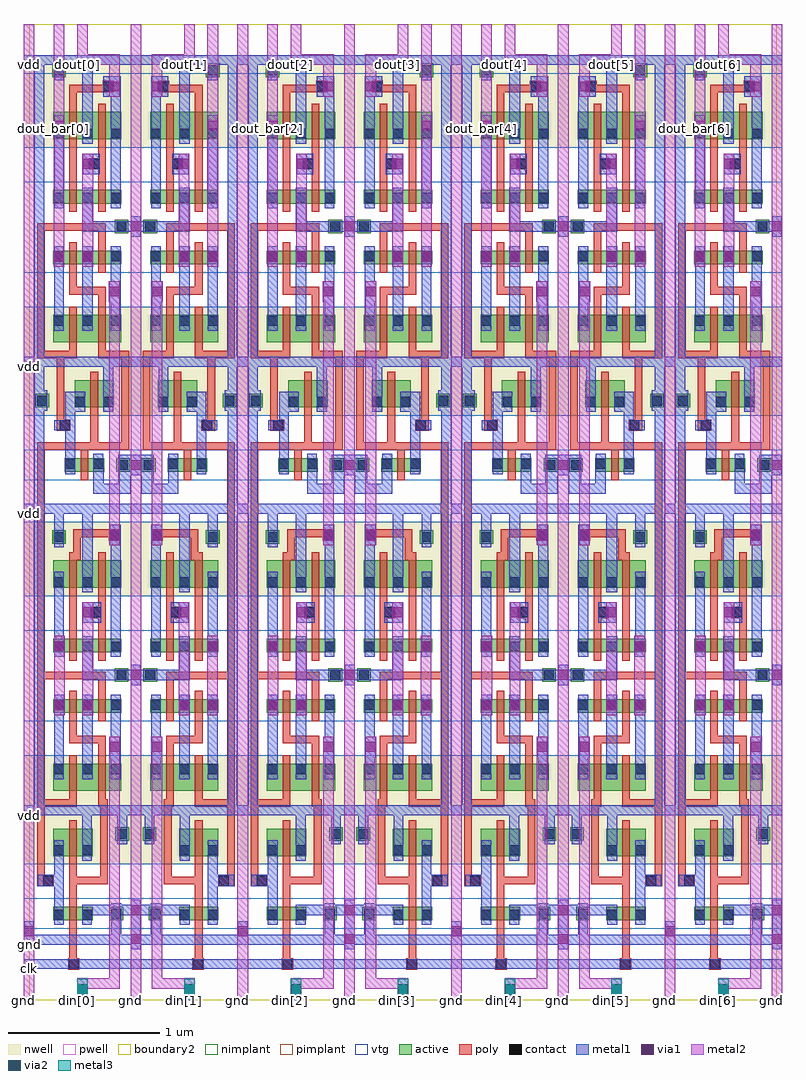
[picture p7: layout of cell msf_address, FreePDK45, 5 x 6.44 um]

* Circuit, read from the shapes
.subckt msf_address clk din[0] din[1] din[2] din[3] din[4] din[5] din[6] dout[0] dout[1] dout[2] dout[3] dout[4] dout[5] dout[6] dout_bar[0] dout_bar[1] dout_bar[2] dout_bar[3] dout_bar[4] dout_bar[5] dout_bar[6] gnd vdd
M1 gnd clk n1 gnd nfet w=0.09u l=0.05u
M2 n2 clk n3 gnd nfet w=0.09u l=0.05u
M3 gnd n4 n3 gnd nfet w=0.09u l=0.05u
M4 n5 n1 dout_bar[0] gnd nfet w=0.09u l=0.05u
M5 gnd dout[0] dout_bar[0] gnd nfet w=0.09u l=0.05u
M6 gnd n1 n6 gnd nfet w=0.09u l=0.05u
M7 din[0] n1 n2 gnd nfet w=0.09u l=0.05u
M8 n4 n2 gnd gnd nfet w=0.09u l=0.05u
M9 n4 n6 n5 gnd nfet w=0.09u l=0.05u
M10 dout[0] n5 gnd gnd nfet w=0.09u l=0.05u
M11 n7 n8 din[1] gnd nfet w=0.09u l=0.05u
M12 gnd n7 n9 gnd nfet w=0.09u l=0.05u
M13 n10 n11 n9 gnd nfet w=0.09u l=0.05u
M14 gnd n10 dout[1] gnd nfet w=0.09u l=0.05u
M15 n11 n8 gnd gnd nfet w=0.09u l=0.05u
M16 n8 clk gnd gnd nfet w=0.09u l=0.05u
M17 n12 clk n7 gnd nfet w=0.09u l=0.05u
M18 n12 n9 gnd gnd nfet w=0.09u l=0.05u
M19 dout_bar[1] n8 n10 gnd nfet w=0.09u l=0.05u
M20 dout_bar[1] dout[1] gnd gnd nfet w=0.09u l=0.05u
M21 gnd clk n13 gnd nfet w=0.09u l=0.05u
M22 n14 clk n15 gnd nfet w=0.09u l=0.05u
M23 gnd n16 n15 gnd nfet w=0.09u l=0.05u
M24 n17 n13 dout_bar[2] gnd nfet w=0.09u l=0.05u
M25 gnd dout[2] dout_bar[2] gnd nfet w=0.09u l=0.05u
M26 gnd n13 n18 gnd nfet w=0.09u l=0.05u
M27 din[2] n13 n14 gnd nfet w=0.09u l=0.05u
M28 n16 n14 gnd gnd nfet w=0.09u l=0.05u
M29 n16 n18 n17 gnd nfet w=0.09u l=0.05u
M30 dout[2] n17 gnd gnd nfet w=0.09u l=0.05u
M31 n19 n20 din[3] gnd nfet w=0.09u l=0.05u
M32 gnd n19 n21 gnd nfet w=0.09u l=0.05u
M33 n22 n23 n21 gnd nfet w=0.09u l=0.05u
M34 gnd n22 dout[3] gnd nfet w=0.09u l=0.05u
M35 n23 n20 gnd gnd nfet w=0.09u l=0.05u
M36 n20 clk gnd gnd nfet w=0.09u l=0.05u
M37 n24 clk n19 gnd nfet w=0.09u l=0.05u
M38 n24 n21 gnd gnd nfet w=0.09u l=0.05u
M39 dout_bar[3] n20 n22 gnd nfet w=0.09u l=0.05u
M40 dout_bar[3] dout[3] gnd gnd nfet w=0.09u l=0.05u
M41 gnd clk n25 gnd nfet w=0.09u l=0.05u
M42 n26 clk n27 gnd nfet w=0.09u l=0.05u
M43 gnd n28 n27 gnd nfet w=0.09u l=0.05u
M44 n29 n25 dout_bar[4] gnd nfet w=0.09u l=0.05u
M45 gnd dout[4] dout_bar[4] gnd nfet w=0.09u l=0.05u
M46 gnd n25 n30 gnd nfet w=0.09u l=0.05u
M47 din[4] n25 n26 gnd nfet w=0.09u l=0.05u
M48 n28 n26 gnd gnd nfet w=0.09u l=0.05u
M49 n28 n30 n29 gnd nfet w=0.09u l=0.05u
M50 dout[4] n29 gnd gnd nfet w=0.09u l=0.05u
M51 n31 n32 din[5] gnd nfet w=0.09u l=0.05u
M52 gnd n31 n33 gnd nfet w=0.09u l=0.05u
M53 n34 n35 n33 gnd nfet w=0.09u l=0.05u
M54 gnd n34 dout[5] gnd nfet w=0.09u l=0.05u
M55 n35 n32 gnd gnd nfet w=0.09u l=0.05u
M56 n32 clk gnd gnd nfet w=0.09u l=0.05u
M57 n36 clk n31 gnd nfet w=0.09u l=0.05u
M58 n36 n33 gnd gnd nfet w=0.09u l=0.05u
M59 dout_bar[5] n32 n34 gnd nfet w=0.09u l=0.05u
M60 dout_bar[5] dout[5] gnd gnd nfet w=0.09u l=0.05u
M61 gnd clk n37 gnd nfet w=0.09u l=0.05u
M62 n38 clk n39 gnd nfet w=0.09u l=0.05u
M63 gnd n40 n39 gnd nfet w=0.09u l=0.05u
M64 n41 n37 dout_bar[6] gnd nfet w=0.09u l=0.05u
M65 gnd dout[6] dout_bar[6] gnd nfet w=0.09u l=0.05u
M66 gnd n37 n42 gnd nfet w=0.09u l=0.05u
M67 din[6] n37 n38 gnd nfet w=0.09u l=0.05u
M68 n40 n38 gnd gnd nfet w=0.09u l=0.05u
M69 n40 n42 n41 gnd nfet w=0.09u l=0.05u
M70 dout[6] n41 gnd gnd nfet w=0.09u l=0.05u
M71 vdd clk n1 vdd pfet w=0.18u l=0.05u
M72 n2 n1 n3 vdd pfet w=0.18u l=0.05u
M73 vdd n4 n3 vdd pfet w=0.18u l=0.05u
M74 n5 n6 dout_bar[0] vdd pfet w=0.18u l=0.05u
M75 vdd dout[0] dout_bar[0] vdd pfet w=0.18u l=0.05u
M76 vdd n1 n6 vdd pfet w=0.18u l=0.05u
M77 din[0] clk n2 vdd pfet w=0.18u l=0.05u
M78 n4 n2 vdd vdd pfet w=0.18u l=0.05u
M79 n4 n1 n5 vdd pfet w=0.18u l=0.05u
M80 dout[0] n5 vdd vdd pfet w=0.18u l=0.05u
M81 n7 clk din[1] vdd pfet w=0.18u l=0.05u
M82 vdd n7 n9 vdd pfet w=0.18u l=0.05u
M83 n10 n8 n9 vdd pfet w=0.18u l=0.05u
M84 vdd n10 dout[1] vdd pfet w=0.18u l=0.05u
M85 n11 n8 vdd vdd pfet w=0.18u l=0.05u
M86 n8 clk vdd vdd pfet w=0.18u l=0.05u
M87 n12 n8 n7 vdd pfet w=0.18u l=0.05u
M88 n12 n9 vdd vdd pfet w=0.18u l=0.05u
M89 dout_bar[1] n11 n10 vdd pfet w=0.18u l=0.05u
M90 dout_bar[1] dout[1] vdd vdd pfet w=0.18u l=0.05u
M91 vdd clk n13 vdd pfet w=0.18u l=0.05u
M92 n14 n13 n15 vdd pfet w=0.18u l=0.05u
M93 vdd n16 n15 vdd pfet w=0.18u l=0.05u
M94 n17 n18 dout_bar[2] vdd pfet w=0.18u l=0.05u
M95 vdd dout[2] dout_bar[2] vdd pfet w=0.18u l=0.05u
M96 vdd n13 n18 vdd pfet w=0.18u l=0.05u
M97 din[2] clk n14 vdd pfet w=0.18u l=0.05u
M98 n16 n14 vdd vdd pfet w=0.18u l=0.05u
M99 n16 n13 n17 vdd pfet w=0.18u l=0.05u
M100 dout[2] n17 vdd vdd pfet w=0.18u l=0.05u
M101 n19 clk din[3] vdd pfet w=0.18u l=0.05u
M102 vdd n19 n21 vdd pfet w=0.18u l=0.05u
M103 n22 n20 n21 vdd pfet w=0.18u l=0.05u
M104 vdd n22 dout[3] vdd pfet w=0.18u l=0.05u
M105 n23 n20 vdd vdd pfet w=0.18u l=0.05u
M106 n20 clk vdd vdd pfet w=0.18u l=0.05u
M107 n24 n20 n19 vdd pfet w=0.18u l=0.05u
M108 n24 n21 vdd vdd pfet w=0.18u l=0.05u
M109 dout_bar[3] n23 n22 vdd pfet w=0.18u l=0.05u
M110 dout_bar[3] dout[3] vdd vdd pfet w=0.18u l=0.05u
M111 vdd clk n25 vdd pfet w=0.18u l=0.05u
M112 n26 n25 n27 vdd pfet w=0.18u l=0.05u
M113 vdd n28 n27 vdd pfet w=0.18u l=0.05u
M114 n29 n30 dout_bar[4] vdd pfet w=0.18u l=0.05u
M115 vdd dout[4] dout_bar[4] vdd pfet w=0.18u l=0.05u
M116 vdd n25 n30 vdd pfet w=0.18u l=0.05u
M117 din[4] clk n26 vdd pfet w=0.18u l=0.05u
M118 n28 n26 vdd vdd pfet w=0.18u l=0.05u
M119 n28 n25 n29 vdd pfet w=0.18u l=0.05u
M120 dout[4] n29 vdd vdd pfet w=0.18u l=0.05u
M121 n31 clk din[5] vdd pfet w=0.18u l=0.05u
M122 vdd n31 n33 vdd pfet w=0.18u l=0.05u
M123 n34 n32 n33 vdd pfet w=0.18u l=0.05u
M124 vdd n34 dout[5] vdd pfet w=0.18u l=0.05u
M125 n35 n32 vdd vdd pfet w=0.18u l=0.05u
M126 n32 clk vdd vdd pfet w=0.18u l=0.05u
M127 n36 n32 n31 vdd pfet w=0.18u l=0.05u
M128 n36 n33 vdd vdd pfet w=0.18u l=0.05u
M129 dout_bar[5] n35 n34 vdd pfet w=0.18u l=0.05u
M130 dout_bar[5] dout[5] vdd vdd pfet w=0.18u l=0.05u
M131 vdd clk n37 vdd pfet w=0.18u l=0.05u
M132 n38 n37 n39 vdd pfet w=0.18u l=0.05u
M133 vdd n40 n39 vdd pfet w=0.18u l=0.05u
M134 n41 n42 dout_bar[6] vdd pfet w=0.18u l=0.05u
M135 vdd dout[6] dout_bar[6] vdd pfet w=0.18u l=0.05u
M136 vdd n37 n42 vdd pfet w=0.18u l=0.05u
M137 din[6] clk n38 vdd pfet w=0.18u l=0.05u
M138 n40 n38 vdd vdd pfet w=0.18u l=0.05u
M139 n40 n37 n41 vdd pfet w=0.18u l=0.05u
M140 dout[6] n41 vdd vdd pfet w=0.18u l=0.05u
.ends

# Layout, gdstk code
from math import pi, radians
import gdstk
lib = gdstk.Library(unit=1e-6, precision=5e-10)
def R(c, l, rs):  # rectangles x0, y0, x1, y1
    for r in rs: c.add(gdstk.rectangle(r[:2], r[2:], *l))
def A(c, l, x, y, w, h, nx, ny, dx, dy):  # array of equal rectangles
    R(c, l, [(x+i*dx, y+j*dy, x+i*dx+w, y+j*dy+h) for i in range(nx) for j in range(ny)])
active = (1, 0)
pwell = (2, 0)
nwell = (3, 0)
nimplant = (4, 0)
pimplant = (5, 0)
vtg = (6, 0)
poly = (9, 0)
contact = (10, 0)
metal1 = (11, 0)
via1 = (12, 0)
metal2 = (13, 0)
via2 = (14, 0)
metal3 = (15, 0)
boundary2 = (239, 0)

ms_flop = lib.new_cell('ms_flop')
R(ms_flop, active, [(0.16,0.525,0.235,0.6), (0.16,0.525,0.42,0.615), (0.16,0.525,0.235,0.615), (0.16,0.525,0.235,0.615), (0.345,0.525,0.42,0.6), (0.345,0.525,0.42,0.615), (0.345,0.525,0.42,0.615), (0.53,0.525,0.62,0.615), (0.16,0.95,0.235,1.025), (0.16,0.95,0.42,1.13), (0.16,0.95,0.235,1.13), (0.16,0.95,0.235,1.13), (0.345,0.95,0.42,1.025), (0.345,0.95,0.42,1.13), (0.345,0.95,0.42,1.13), (0.57,1.05,0.66,1.14), (0.16,1.38,0.42,1.56), (0.16,1.38,0.235,1.56), (0.16,1.38,0.235,1.56), (0.345,1.38,0.42,1.56), (0.345,1.38,0.42,1.56), (0.35,1.38,0.61,1.56), (0.35,1.38,0.425,1.56), (0.35,1.38,0.425,1.56), (0.535,1.38,0.61,1.56), (0.535,1.38,0.61,1.56), (0.16,1.485,0.235,1.56), (0.345,1.485,0.42,1.56), (0.35,1.485,0.425,1.56), (0.535,1.485,0.61,1.56), (0.16,1.895,0.42,1.985), (0.16,1.895,0.235,1.985), (0.16,1.895,0.235,1.985), (0.345,1.895,0.42,1.985), (0.345,1.895,0.42,1.985), (0.35,1.895,0.61,1.985), (0.35,1.895,0.425,1.985), (0.35,1.895,0.425,1.985), (0.535,1.895,0.61,1.985), (0.535,1.895,0.61,1.985), (0.16,1.91,0.235,1.985), (0.345,1.91,0.42,1.985), (0.35,1.91,0.425,1.985), (0.535,1.91,0.61,1.985), (0.565,2.1,0.655,2.19), (0.16,2.295,0.235,2.37), (0.16,2.295,0.42,2.385), (0.16,2.295,0.235,2.385), (0.16,2.295,0.235,2.385), (0.345,2.295,0.42,2.37), (0.345,2.295,0.42,2.385), (0.345,2.295,0.42,2.385), (0.35,2.295,0.425,2.37), (0.35,2.295,0.61,2.385), (0.35,2.295,0.425,2.385), (0.35,2.295,0.425,2.385), (0.535,2.295,0.61,2.37), (0.535,2.295,0.61,2.385), (0.535,2.295,0.61,2.385), (0.16,2.72,0.235,2.795), (0.16,2.72,0.42,2.9), (0.16,2.72,0.235,2.9), (0.16,2.72,0.235,2.9), (0.345,2.72,0.42,2.795), (0.345,2.72,0.42,2.9), (0.345,2.72,0.42,2.9), (0.35,2.72,0.425,2.795), (0.35,2.72,0.61,2.9), (0.35,2.72,0.425,2.9), (0.35,2.72,0.425,2.9), (0.535,2.72,0.61,2.795), (0.535,2.72,0.61,2.9), (0.535,2.72,0.61,2.9), (0.1525,3.01,0.2425,3.1), (0.235,3.485,0.495,3.575), (0.235,3.485,0.31,3.575), (0.235,3.485,0.31,3.575), (0.42,3.485,0.495,3.575), (0.42,3.485,0.495,3.575), (0.575,3.485,0.665,3.575), (0.235,3.5,0.31,3.575), (0.42,3.5,0.495,3.575), (0.0425,3.91,0.1325,4), (0.3,3.91,0.375,3.985), (0.3,3.91,0.56,4.09), (0.3,3.91,0.375,4.09), (0.3,3.91,0.375,4.09), (0.485,3.91,0.56,3.985), (0.485,3.91,0.56,4.09), (0.485,3.91,0.56,4.09), (0.16,4.34,0.42,4.52), (0.16,4.34,0.235,4.52), (0.16,4.34,0.235,4.52), (0.345,4.34,0.42,4.52), (0.345,4.34,0.42,4.52), (0.35,4.34,0.61,4.52), (0.35,4.34,0.425,4.52), (0.35,4.34,0.425,4.52), (0.535,4.34,0.61,4.52), (0.535,4.34,0.61,4.52), (0.16,4.445,0.235,4.52), (0.345,4.445,0.42,4.52), (0.35,4.445,0.425,4.52), (0.535,4.445,0.61,4.52), (0.16,4.855,0.42,4.945), (0.16,4.855,0.235,4.945), (0.16,4.855,0.235,4.945), (0.345,4.855,0.42,4.945), (0.345,4.855,0.42,4.945), (0.35,4.855,0.61,4.945), (0.35,4.855,0.425,4.945), (0.35,4.855,0.425,4.945), (0.535,4.855,0.61,4.945), (0.535,4.855,0.61,4.945), (0.16,4.87,0.235,4.945), (0.345,4.87,0.42,4.945), (0.35,4.87,0.425,4.945), (0.535,4.87,0.61,4.945), (0.565,5.06,0.655,5.15), (0.16,5.255,0.235,5.33), (0.16,5.255,0.42,5.345), (0.16,5.255,0.235,5.345), (0.16,5.255,0.235,5.345), (0.345,5.255,0.42,5.33), (0.345,5.255,0.42,5.345), (0.345,5.255,0.42,5.345), (0.35,5.255,0.425,5.33), (0.35,5.255,0.61,5.345), (0.35,5.255,0.425,5.345), (0.35,5.255,0.425,5.345), (0.535,5.255,0.61,5.33), (0.535,5.255,0.61,5.345), (0.535,5.255,0.61,5.345), (0.16,5.68,0.235,5.755), (0.16,5.68,0.42,5.86), (0.16,5.68,0.235,5.86), (0.16,5.68,0.235,5.86), (0.345,5.68,0.42,5.755), (0.345,5.68,0.42,5.86), (0.345,5.68,0.42,5.86), (0.35,5.68,0.425,5.755), (0.35,5.68,0.61,5.86), (0.35,5.68,0.425,5.86), (0.35,5.68,0.425,5.86), (0.535,5.68,0.61,5.755), (0.535,5.68,0.61,5.86), (0.535,5.68,0.61,5.86), (0.1525,6.09,0.2425,6.18)])
R(ms_flop, pwell, [(-0.035,0.47,0.74,0.67), (0.105,0.47,0.475,0.67), (0.475,0.47,0.675,0.67), (-0.035,1.84,0.74,2.44), (0.105,1.84,0.475,2.04), (0.295,1.84,0.665,2.04), (0.51,2.045,0.71,2.245), (0.105,2.24,0.475,2.44), (0.295,2.24,0.665,2.44), (-0.035,3.43,0.74,3.63), (0.18,3.43,0.55,3.63), (0.52,3.43,0.72,3.63), (-0.035,4.8,0.74,5.4), (0.105,4.8,0.475,5), (0.295,4.8,0.665,5), (0.51,5.005,0.71,5.205), (0.105,5.2,0.475,5.4), (0.295,5.2,0.665,5.4)])
R(ms_flop, nwell, [(-0.035,0.895,0.74,1.615), (0.105,0.895,0.475,1.185), (0.515,0.995,0.715,1.195), (0.105,1.325,0.475,1.615), (0.295,1.325,0.665,1.615), (-0.035,2.665,0.74,3.155), (0.105,2.665,0.475,2.955), (0.295,2.665,0.665,2.955), (0.0975,2.955,0.2975,3.155), (-0.035,3.855,0.74,4.575), (-0.0125,3.855,0.1875,4.055), (0.245,3.855,0.615,4.145), (0.105,4.285,0.475,4.575), (0.295,4.285,0.665,4.575), (-0.035,5.625,0.74,6.235), (0.105,5.625,0.475,5.915), (0.295,5.625,0.665,5.915), (0.0975,6.035,0.2975,6.235)])
R(ms_flop, nimplant, [(0.16,0.525,0.42,0.615), (0.57,1.05,0.66,1.14), (0.16,1.895,0.42,1.985), (0.35,1.895,0.61,1.985), (0.16,2.295,0.42,2.385), (0.35,2.295,0.61,2.385), (0.1525,3.01,0.2425,3.1), (0.235,3.485,0.495,3.575), (0.0425,3.91,0.1325,4), (0.16,4.855,0.42,4.945), (0.35,4.855,0.61,4.945), (0.16,5.255,0.42,5.345), (0.35,5.255,0.61,5.345), (0.1525,6.09,0.2425,6.18)])
R(ms_flop, pimplant, [(0.53,0.525,0.62,0.615), (0.16,0.95,0.42,1.13), (0.16,1.38,0.42,1.56), (0.35,1.38,0.61,1.56), (0.565,2.1,0.655,2.19), (0.16,2.72,0.42,2.9), (0.35,2.72,0.61,2.9), (0.575,3.485,0.665,3.575), (0.3,3.91,0.56,4.09), (0.16,4.34,0.42,4.52), (0.35,4.34,0.61,4.52), (0.565,5.06,0.655,5.15), (0.16,5.68,0.42,5.86), (0.35,5.68,0.61,5.86)])
R(ms_flop, vtg, [(-0.035,0.47,0.74,0.67), (0.105,0.47,0.475,0.67), (-0.035,0.895,0.74,1.615), (0.105,0.895,0.475,1.185), (0.105,1.325,0.475,1.615), (0.295,1.325,0.665,1.615), (-0.035,1.84,0.74,2.44), (0.105,1.84,0.475,2.04), (0.295,1.84,0.665,2.04), (0.105,2.24,0.475,2.44), (0.295,2.24,0.665,2.44), (-0.035,2.665,0.74,3.155), (0.105,2.665,0.475,2.955), (0.295,2.665,0.665,2.955), (-0.0325,3.43,0.74,3.63), (0.18,3.43,0.55,3.63), (-0.035,3.855,0.74,4.575), (0.245,3.855,0.615,4.145), (0.105,4.285,0.475,4.575), (0.295,4.285,0.665,4.575), (-0.035,4.8,0.74,5.4), (0.105,4.8,0.475,5), (0.295,4.8,0.665,5), (0.105,5.2,0.475,5.4), (0.295,5.2,0.665,5.4), (-0.035,5.625,0.74,6.115), (0.105,5.625,0.475,5.915), (0.295,5.625,0.665,5.915)])
R(ms_flop, poly, [(0.2575,0.2,0.3325,0.275), (0.265,0.2,0.315,0.47), (0.265,0.47,0.315,0.525), (0.265,0.47,0.315,0.67), (0.265,0.615,0.315,0.67), (0.265,0.67,0.315,0.895), (0.0525,0.75,0.1025,1.325), (0.0875,0.75,0.1625,0.825), (0.315,0.7625,0.52,0.8125), (0.47,0.8125,0.52,1.325), (0.265,0.895,0.315,0.95), (0.265,0.895,0.315,1.185), (0.265,1.13,0.315,1.185), (0.0525,1.275,0.315,1.325), (0.455,1.275,0.52,1.325), (0.0525,1.325,0.1025,2.115), (0.265,1.325,0.315,1.38), (0.265,1.325,0.315,1.615), (0.455,1.325,0.505,1.38), (0.455,1.325,0.505,1.615), (0.265,1.56,0.315,1.615), (0.455,1.56,0.505,1.615), (0.455,1.615,0.505,1.695), (0.265,1.695,0.505,1.745), (0.265,1.745,0.315,1.84), (0.265,1.84,0.315,1.895), (0.265,1.84,0.315,2.04), (0.455,1.84,0.505,1.895), (0.455,1.84,0.505,2.04), (0.265,1.985,0.315,2.04), (0.455,1.985,0.505,2.04), (0.455,2.04,0.505,2.115), (0.0525,2.115,0.505,2.165), (0.0525,2.165,0.1025,3.68), (0.265,2.24,0.315,2.295), (0.265,2.24,0.315,2.44), (0.455,2.24,0.505,2.295), (0.455,2.24,0.505,2.44), (0.265,2.385,0.315,2.44), (0.455,2.385,0.505,2.44), (0.265,2.44,0.315,2.665), (0.455,2.44,0.505,2.665), (0.405,2.52,0.48,2.595), (0.265,2.665,0.315,2.72), (0.265,2.665,0.315,2.955), (0.455,2.665,0.505,2.72), (0.455,2.665,0.505,2.955), (0.265,2.9,0.315,2.955), (0.265,2.9,0.3425,2.955), (0.455,2.9,0.505,2.955), (0.2925,2.955,0.3425,3.055), (0.5275,3.03,0.6025,3.105), (0.2925,3.055,0.535,3.105), (0.34,3.43,0.39,3.485), (0.34,3.43,0.39,3.63), (0.34,3.575,0.39,3.63), (0.0525,3.63,0.62,3.68), (0.405,3.63,0.455,3.855), (0.61,3.63,0.66,4.285), (0.1825,3.755,0.2325,3.7875), (0.1975,3.755,0.2725,3.83), (0.1825,3.7875,0.2325,4.285), (0.405,3.855,0.455,3.91), (0.405,3.855,0.455,4.145), (0.405,4.09,0.455,4.145), (0.0525,4.235,0.315,4.285), (0.455,4.235,0.62,4.285), (0.0525,4.285,0.1025,5.075), (0.265,4.285,0.315,4.34), (0.265,4.285,0.315,4.575), (0.455,4.285,0.505,4.34), (0.455,4.285,0.505,4.575), (0.265,4.52,0.315,4.575), (0.455,4.52,0.505,4.575), (0.455,4.575,0.505,4.655), (0.265,4.655,0.505,4.705), (0.265,4.705,0.315,4.8), (0.265,4.8,0.315,4.855), (0.265,4.8,0.315,5), (0.455,4.8,0.505,4.855), (0.455,4.8,0.505,5), (0.265,4.945,0.315,5), (0.455,4.945,0.505,5), (0.455,5,0.505,5.075), (0.0525,5.075,0.505,5.125), (0.265,5.2,0.315,5.255), (0.265,5.2,0.315,5.4), (0.455,5.2,0.505,5.255), (0.455,5.2,0.505,5.4), (0.265,5.345,0.315,5.4), (0.455,5.345,0.505,5.4), (0.265,5.4,0.315,5.625), (0.455,5.4,0.505,5.625), (0.395,5.48,0.47,5.555), (0.265,5.625,0.315,5.68), (0.265,5.625,0.315,5.915), (0.455,5.625,0.505,5.68), (0.455,5.625,0.505,5.915), (0.265,5.86,0.315,5.915), (0.455,5.86,0.505,5.915), (0.265,5.915,0.315,5.99), (0.265,5.99,0.535,6.04), (0.485,5.99,0.56,6.065)])
R(ms_flop, contact, [(0.2625,0.205,0.3275,0.27), (0.165,0.53,0.23,0.595), (0.35,0.53,0.415,0.595), (0.5425,0.5375,0.6075,0.6025), (0.0925,0.755,0.1575,0.82), (0.165,0.955,0.23,1.02), (0.35,0.955,0.415,1.02), (0.5825,1.0625,0.6475,1.1275), (0.165,1.49,0.23,1.555), (0.35,1.49,0.415,1.555), (0.355,1.49,0.42,1.555), (0.54,1.49,0.605,1.555), (0.165,1.915,0.23,1.98), (0.35,1.915,0.415,1.98), (0.355,1.915,0.42,1.98), (0.54,1.915,0.605,1.98), (0.5775,2.1125,0.6425,2.1775), (0.165,2.3,0.23,2.365), (0.35,2.3,0.415,2.365), (0.355,2.3,0.42,2.365), (0.54,2.3,0.605,2.365), (0.41,2.525,0.475,2.59), (0.165,2.725,0.23,2.79), (0.35,2.725,0.415,2.79), (0.355,2.725,0.42,2.79), (0.54,2.725,0.605,2.79), (0.165,3.0225,0.23,3.0875), (0.5325,3.035,0.5975,3.1), (0.5875,3.4975,0.6525,3.5625), (0.24,3.505,0.305,3.57), (0.425,3.505,0.49,3.57), (0.2025,3.76,0.2675,3.825), (0.305,3.915,0.37,3.98), (0.49,3.915,0.555,3.98), (0.055,3.9225,0.12,3.9875), (0.165,4.45,0.23,4.515), (0.35,4.45,0.415,4.515), (0.355,4.45,0.42,4.515), (0.54,4.45,0.605,4.515), (0.165,4.875,0.23,4.94), (0.35,4.875,0.415,4.94), (0.355,4.875,0.42,4.94), (0.54,4.875,0.605,4.94), (0.5775,5.0725,0.6425,5.1375), (0.165,5.26,0.23,5.325), (0.35,5.26,0.415,5.325), (0.355,5.26,0.42,5.325), (0.54,5.26,0.605,5.325), (0.4,5.485,0.465,5.55), (0.165,5.685,0.23,5.75), (0.35,5.685,0.415,5.75), (0.355,5.685,0.42,5.75), (0.54,5.685,0.605,5.75), (0.49,5.995,0.555,6.06), (0.165,6.1025,0.23,6.1675)])
R(ms_flop, metal1, [(-0.035,0.205,0.74,0.27), (-0.035,0.205,0.74,0.27), (0.2275,0.205,0.3625,0.27), (0.105,0.21,0.17,0.2675), (0.6725,0.335,0.7375,0.47), (-0.035,0.365,0.74,0.43), (-0.035,0.365,0.74,0.43), (-0.0325,0.385,0.0325,0.52), (0.5425,0.43,0.6075,0.5025), (0.6725,0.45,0.7375,0.5725), (0.165,0.495,0.23,0.63), (0.165,0.495,0.23,0.92), (0.35,0.495,0.415,0.63), (0.5425,0.5025,0.6075,0.6375), (0.6725,0.525,0.7375,0.66), (0.415,0.56,0.6725,0.63), (0.0575,0.75,0.23,0.825), (0.0575,0.755,0.1925,0.82), (0.165,0.92,0.23,1.055), (0.35,0.92,0.415,1.055), (0.5825,1.0275,0.6475,1.1625), (0.35,1.0525,0.415,1.22), (0.5825,1.14,0.6475,1.255), (-0.035,1.22,0.74,1.285), (-0.035,1.22,0.74,1.285), (0.035,1.285,0.1,3.21), (0.165,1.455,0.23,1.59), (0.35,1.455,0.415,1.59), (0.355,1.455,0.42,1.59), (0.54,1.455,0.605,1.59), (0.165,1.59,0.23,1.88), (0.35,1.59,0.42,1.88), (0.54,1.59,0.605,1.88), (0.5325,1.6025,0.5975,1.7375), (0.1675,1.8775,0.2325,2.0125), (0.355,1.8775,0.42,2.0125), (0.165,1.88,0.23,2.015), (0.35,1.88,0.415,2.015), (0.355,1.88,0.42,2.015), (0.54,1.88,0.605,2.015), (0.6725,2.0775,0.7375,2.2125), (0.35,2.11,0.42,2.2675), (0.35,2.11,0.735,2.18), (0.5425,2.1125,0.6775,2.1775), (0.165,2.265,0.23,2.4), (0.35,2.265,0.415,2.4), (0.355,2.265,0.42,2.4), (0.54,2.265,0.605,2.4), (0.1675,2.2675,0.2325,2.4025), (0.165,2.4,0.23,2.69), (0.54,2.4,0.605,2.69), (0.355,2.49,0.42,2.625), (0.41,2.49,0.475,2.625), (0.165,2.69,0.23,2.825), (0.35,2.69,0.415,2.825), (0.355,2.69,0.42,2.825), (0.54,2.69,0.605,2.825), (0.35,2.825,0.42,3.21), (0.54,2.825,0.605,3.135), (0.165,2.9875,0.23,3.1225), (0.5325,3,0.5975,3.135), (0.5325,3,0.5975,3.135), (0.165,3.1225,0.23,3.21), (-0.035,3.21,0.74,3.275), (-0.035,3.21,0.74,3.275), (0.035,3.275,0.1,6.17), (0.425,3.34,0.67,3.405), (0.5875,3.34,0.67,3.4625), (0.425,3.405,0.4925,3.5075), (0.5875,3.4625,0.6525,3.5975), (0.6075,3.4625,0.675,3.5975), (0.6725,3.4625,0.7375,3.5975), (0.24,3.47,0.305,3.605), (0.425,3.47,0.49,3.605), (0.24,3.565,0.305,4.015), (0.1675,3.76,0.3025,3.825), (0.305,3.88,0.37,4.015), (0.49,3.88,0.555,4.015), (0.055,3.8875,0.12,4.0225), (0.49,4.0125,0.555,4.18), (-0.035,4.18,0.74,4.245), (-0.035,4.18,0.74,4.245), (0.165,4.415,0.23,4.55), (0.35,4.415,0.415,4.55), (0.355,4.415,0.42,4.55), (0.54,4.415,0.605,4.55), (0.165,4.55,0.23,4.84), (0.35,4.55,0.42,4.84), (0.54,4.55,0.605,4.84), (0.53,4.6075,0.595,4.7425), (0.165,4.8375,0.23,4.9725), (0.355,4.8375,0.42,4.9725), (0.165,4.84,0.23,4.975), (0.35,4.84,0.415,4.975), (0.355,4.84,0.42,4.975), (0.54,4.84,0.605,4.975), (0.6725,5.0375,0.7375,5.1725), (0.35,5.07,0.42,5.2275), (0.35,5.07,0.735,5.14), (0.5425,5.0725,0.6775,5.1375), (0.165,5.225,0.23,5.36), (0.35,5.225,0.415,5.36), (0.355,5.225,0.42,5.36), (0.54,5.225,0.605,5.36), (0.165,5.36,0.23,5.65), (0.54,5.36,0.605,5.65), (0.355,5.45,0.42,5.585), (0.4,5.45,0.465,5.585), (0.165,5.65,0.23,5.785), (0.35,5.65,0.415,5.785), (0.355,5.65,0.42,5.785), (0.54,5.65,0.605,5.785), (0.165,5.7025,0.23,5.8375), (0.35,5.785,0.42,6.17), (0.54,5.785,0.605,6.095), (0.49,5.96,0.555,6.095), (0.5325,5.96,0.5975,6.095), (0.165,6.0675,0.23,6.2025), (-0.035,6.17,0.74,6.235), (-0.035,6.17,0.74,6.235), (0.305,6.1725,0.3775,6.235)])
R(ms_flop, via1, [(0.6725,0.37,0.7375,0.435), (-0.0325,0.42,0.0325,0.485), (0.6725,0.56,0.7375,0.625), (0.5325,1.6375,0.5975,1.7025), (0.1675,1.9125,0.2325,1.9775), (0.355,1.9125,0.42,1.9775), (0.6725,2.1125,0.7375,2.1775), (0.1675,2.3025,0.2325,2.3675), (0.355,2.525,0.42,2.59), (0.5325,3.035,0.5975,3.1), (0.6725,3.4975,0.7375,3.5625), (0.53,4.6425,0.595,4.7075), (0.165,4.8725,0.23,4.9375), (0.355,4.8725,0.42,4.9375), (0.6725,5.0725,0.7375,5.1375), (0.355,5.485,0.42,5.55), (0.165,5.7375,0.23,5.8025), (0.5325,5.995,0.5975,6.06)])
R(ms_flop, metal2, [(-0.035,0,0.035,6.44), (-0.035,0,0.035,6.44), (0.3175,0,0.3875,0.14), (0.3175,0,0.3875,0.145), (0.3175,0,0.3875,0.145), (0.67,0,0.74,6.44), (0.67,0,0.74,6.44), (0.3175,0.005,0.385,0.07), (0.3825,0.075,0.53,0.145), (0.53,0.075,0.6,1.7375), (0.67,0.335,0.74,0.47), (-0.035,0.385,0.035,0.52), (0.67,0.525,0.74,0.66), (0.53,1.6025,0.6,1.7375), (0.165,1.8775,0.235,2.0125), (0.165,1.8775,0.235,2.4025), (0.3525,1.8775,0.4225,2.0125), (0.3525,1.8775,0.4225,2.595), (0.67,2.0775,0.74,2.2125), (0.165,2.2675,0.235,2.4025), (0.3525,2.49,0.4225,2.625), (0.53,3,0.6,3.135), (0.53,3.135,0.6,4.7425), (0.67,3.4625,0.74,3.5975), (0.5275,4.6075,0.5975,4.7425), (0.1625,4.8375,0.2325,4.9725), (0.1625,4.8375,0.2325,5.7775), (0.3525,4.8375,0.4225,4.9725), (0.3525,4.8375,0.4225,5.555), (0.67,5.0375,0.74,5.1725), (0.3525,5.45,0.4225,5.585), (0.1625,5.7025,0.2325,5.8375), (0.1625,5.7525,0.2325,6.44), (0.1625,5.7525,0.2325,6.44), (0.53,5.96,0.6,6.095), (0.53,5.96,0.6,6.24), (-0.0325,5.9625,0.03,6.0225), (0.3175,6.17,0.3875,6.44), (0.3175,6.17,0.3875,6.44), (0.3875,6.17,0.53,6.24), (0.1675,6.3025,0.23,6.3625), (0.32,6.375,0.385,6.435)])
R(ms_flop, via2, [(0.3175,0.035,0.3875,0.105)])
R(ms_flop, metal3, [(0.3175,0,0.3875,0.14), (0.3175,0,0.3875,0.14)])
R(ms_flop, boundary2, [(0,0,0.705,6.44)])
ms_flop.add(gdstk.Label('l = 0.05', (0.515,2.81), layer=230, texttype=0))
ms_flop.add(gdstk.Label('w = 0.18', (0.48,2.965), layer=230, texttype=0))
ms_flop.add(gdstk.Label('l = 0.05', (0.515,1.47), layer=230, texttype=0))
ms_flop.add(gdstk.Label('w = 0.18', (0.48,1.315), layer=230, texttype=0))
ms_flop.add(gdstk.Label('l = 0.05', (0.325,2.81), layer=230, texttype=0))
ms_flop.add(gdstk.Label('w = 0.18', (0.29,2.965), layer=230, texttype=0))
ms_flop.add(gdstk.Label('l = 0.05', (0.325,5.77), layer=230, texttype=0))
ms_flop.add(gdstk.Label('w = 0.18', (0.29,5.925), layer=230, texttype=0))
ms_flop.add(gdstk.Label('l = 0.05', (0.325,1.47), layer=230, texttype=0))
ms_flop.add(gdstk.Label('w = 0.18', (0.29,1.315), layer=230, texttype=0))
ms_flop.add(gdstk.Label('l = 0.05', (0.515,5.77), layer=230, texttype=0))
ms_flop.add(gdstk.Label('w = 0.18', (0.48,5.925), layer=230, texttype=0))
ms_flop.add(gdstk.Label('l = 0.05', (0.325,1.04), layer=230, texttype=0))
ms_flop.add(gdstk.Label('w = 0.18', (0.29,1.195), layer=230, texttype=0))
ms_flop.add(gdstk.Label('l = 0.05', (0.465,4), layer=230, texttype=0))
ms_flop.add(gdstk.Label('w = 0.18', (0.43,4.155), layer=230, texttype=0))
ms_flop.add(gdstk.Label('l = 0.05', (0.515,4.43), layer=230, texttype=0))
ms_flop.add(gdstk.Label('w = 0.18', (0.48,4.275), layer=230, texttype=0))
ms_flop.add(gdstk.Label('l = 0.05', (0.325,4.43), layer=230, texttype=0))
ms_flop.add(gdstk.Label('w = 0.18', (0.29,4.275), layer=230, texttype=0))
ms_flop.add(gdstk.Label('l = 0.05', (0.515,4.9), layer=230, texttype=0))
ms_flop.add(gdstk.Label('w = 0.09', (0.48,4.79), layer=230, texttype=0))
ms_flop.add(gdstk.Label('l = 0.05', (0.515,1.94), layer=230, texttype=0))
ms_flop.add(gdstk.Label('w = 0.09', (0.48,1.83), layer=230, texttype=0))
ms_flop.add(gdstk.Label('l = 0.05', (0.515,5.3), layer=230, texttype=0))
ms_flop.add(gdstk.Label('w = 0.09', (0.48,5.41), layer=230, texttype=0))
ms_flop.add(gdstk.Label('l = 0.05', (0.325,5.3), layer=230, texttype=0))
ms_flop.add(gdstk.Label('w = 0.09', (0.29,5.41), layer=230, texttype=0))
ms_flop.add(gdstk.Label('l = 0.05', (0.325,1.94), layer=230, texttype=0))
ms_flop.add(gdstk.Label('w = 0.09', (0.29,1.83), layer=230, texttype=0))
ms_flop.add(gdstk.Label('l = 0.05', (0.325,4.9), layer=230, texttype=0))
ms_flop.add(gdstk.Label('w = 0.09', (0.29,4.79), layer=230, texttype=0))
ms_flop.add(gdstk.Label('l = 0.05', (0.325,2.34), layer=230, texttype=0))
ms_flop.add(gdstk.Label('w = 0.09', (0.29,2.45), layer=230, texttype=0))
ms_flop.add(gdstk.Label('l = 0.05', (0.515,2.34), layer=230, texttype=0))
ms_flop.add(gdstk.Label('w = 0.09', (0.48,2.45), layer=230, texttype=0))
ms_flop.add(gdstk.Label('l = 0.05', (0.325,0.57), layer=230, texttype=0))
ms_flop.add(gdstk.Label('w = 0.09', (0.29,0.68), layer=230, texttype=0))
ms_flop.add(gdstk.Label('l = 0.05', (0.4,3.53), layer=230, texttype=0))
ms_flop.add(gdstk.Label('w = 0.09', (0.365,3.42), layer=230, texttype=0))
ms_flop.add(gdstk.Label('dout', (0.3525,6.415), layer=13, texttype=0))
ms_flop.add(gdstk.Label('dout_bar', (0.2025,6.3375), layer=13, texttype=0))
ms_flop.add(gdstk.Label('gnd', (0,5.99), layer=13, texttype=0))
ms_flop.add(gdstk.Label('din', (0.345,0.04), layer=13, texttype=0))
ms_flop.add(gdstk.Label('gnd', (0.6825,6.29), layer=13, texttype=0))
ms_flop.add(gdstk.Label('din', (0.3325,0.0775), layer=15, texttype=0))
ms_flop.add(gdstk.Label('vdd', (0.2025,3.2625), layer=11, texttype=0))
ms_flop.add(gdstk.Label('gnd', (0.1425,0.415), layer=11, texttype=0))
ms_flop.add(gdstk.Label('vdd', (0.34,6.2025), layer=11, texttype=0))
ms_flop.add(gdstk.Label('clk', (0.135,0.24), layer=11, texttype=0))
ms_flop.add(gdstk.Label('vdd', (0.19,1.27), layer=11, texttype=0))
ms_flop.add(gdstk.Label('vdd', (0.295,4.2325), layer=11, texttype=0))
ms_flop.add(gdstk.Label('din', (0.3175,0), layer=13, texttype=0))
ms_flop.add(gdstk.Label('din', (0.3175,0), layer=15, texttype=0))
ms_flop.add(gdstk.Label('dout', (0.3175,6.17), layer=13, texttype=0))
ms_flop.add(gdstk.Label('clk', (-0.035,0.205), layer=11, texttype=0))
ms_flop.add(gdstk.Label('dout_bar', (0.1625,5.7525), layer=13, texttype=0))
ms_flop.add(gdstk.Label('vdd', (-0.035,3.21), layer=11, texttype=0))
ms_flop.add(gdstk.Label('vdd', (-0.035,6.17), layer=11, texttype=0))
ms_flop.add(gdstk.Label('vdd', (-0.035,1.22), layer=11, texttype=0))
ms_flop.add(gdstk.Label('vdd', (-0.035,4.18), layer=11, texttype=0))
ms_flop.add(gdstk.Label('gnd', (-0.035,0), layer=13, texttype=0))
ms_flop.add(gdstk.Label('gnd', (0.67,0), layer=13, texttype=0))
ms_flop.add(gdstk.Label('gnd', (-0.035,0.365), layer=11, texttype=0))

msf_address = lib.new_cell('msf_address')
R(msf_address, metal1, [(0,0.205,4.935,0.27), (0,0.365,4.935,0.43), (0,1.22,4.935,1.285), (0,3.21,4.935,3.275), (0,4.18,4.935,4.245), (0,6.17,4.935,6.235)])
A(msf_address, metal2, -0.035, 0, 0.07, 6.44, 8, 1, 0.705, 0)
A(msf_address, metal2, 0.3175, 0, 0.07, 0.145, 7, 1, 0.705, 0)
A(msf_address, metal2, 0.3175, 6.17, 0.07, 0.27, 7, 1, 0.705, 0)
R(msf_address, metal2, [(0.1625,5.7525,0.2325,6.44), (1.1775,5.7525,1.2475,6.44), (1.5725,5.7525,1.6425,6.44), (2.5875,5.7525,2.6575,6.44), (2.9825,5.7525,3.0525,6.44), (3.9975,5.7525,4.0675,6.44), (4.3925,5.7525,4.4625,6.44)])
A(msf_address, metal3, 0.3175, 0, 0.07, 0.14, 7, 1, 0.705, 0)
msf_address.add(gdstk.Reference(ms_flop, (0,0)))
msf_address.add(gdstk.Reference(ms_flop, (1.41,0), rotation=pi, x_reflection=True))
msf_address.add(gdstk.Reference(ms_flop, (1.41,0)))
msf_address.add(gdstk.Reference(ms_flop, (2.82,0), rotation=pi, x_reflection=True))
msf_address.add(gdstk.Reference(ms_flop, (2.82,0)))
msf_address.add(gdstk.Reference(ms_flop, (4.23,0), rotation=pi, x_reflection=True))
msf_address.add(gdstk.Reference(ms_flop, (4.23,0)))
msf_address.add(gdstk.Label('din[6]', (4.5475,0), layer=13, texttype=0))
msf_address.add(gdstk.Label('din[6]', (4.5475,0), layer=15, texttype=0))
msf_address.add(gdstk.Label('dout_bar[2]', (1.5725,5.7525), layer=13, texttype=0))
msf_address.add(gdstk.Label('din[4]', (3.1375,0), layer=13, texttype=0))
msf_address.add(gdstk.Label('din[4]', (3.1375,0), layer=15, texttype=0))
msf_address.add(gdstk.Label('din[0]', (0.3175,0), layer=13, texttype=0))
msf_address.add(gdstk.Label('din[0]', (0.3175,0), layer=15, texttype=0))
msf_address.add(gdstk.Label('din[2]', (1.7275,0), layer=13, texttype=0))
msf_address.add(gdstk.Label('din[2]', (1.7275,0), layer=15, texttype=0))
msf_address.add(gdstk.Label('clk', (0,0.205), layer=11, texttype=0))
msf_address.add(gdstk.Label('dout[6]', (4.5475,6.17), layer=13, texttype=0))
msf_address.add(gdstk.Label('dout_bar[6]', (4.3925,5.7525), layer=13, texttype=0))
msf_address.add(gdstk.Label('dout[2]', (1.7275,6.17), layer=13, texttype=0))
msf_address.add(gdstk.Label('dout[4]', (3.1375,6.17), layer=13, texttype=0))
msf_address.add(gdstk.Label('dout_bar[0]', (0.1625,5.7525), layer=13, texttype=0))
msf_address.add(gdstk.Label('dout[0]', (0.3175,6.17), layer=13, texttype=0))
msf_address.add(gdstk.Label('dout_bar[4]', (2.9825,5.7525), layer=13, texttype=0))
msf_address.add(gdstk.Label('gnd', (-0.035,0), layer=13, texttype=0))
msf_address.add(gdstk.Label('gnd', (0.67,0), layer=13, texttype=0))
msf_address.add(gdstk.Label('gnd', (1.375,0), layer=13, texttype=0))
msf_address.add(gdstk.Label('gnd', (2.08,0), layer=13, texttype=0))
msf_address.add(gdstk.Label('gnd', (2.785,0), layer=13, texttype=0))
msf_address.add(gdstk.Label('gnd', (3.49,0), layer=13, texttype=0))
msf_address.add(gdstk.Label('gnd', (4.195,0), layer=13, texttype=0))
msf_address.add(gdstk.Label('gnd', (4.9,0), layer=13, texttype=0))
msf_address.add(gdstk.Label('gnd', (0,0.365), layer=11, texttype=0))
msf_address.add(gdstk.Label('dout_bar[1]', (1.1775,5.7525), layer=13, texttype=0))
msf_address.add(gdstk.Label('din[3]', (2.4325,0), layer=13, texttype=0))
msf_address.add(gdstk.Label('din[3]', (2.4325,0), layer=15, texttype=0))
msf_address.add(gdstk.Label('din[5]', (3.8425,0), layer=13, texttype=0))
msf_address.add(gdstk.Label('din[5]', (3.8425,0), layer=15, texttype=0))
msf_address.add(gdstk.Label('dout_bar[3]', (2.5875,5.7525), layer=13, texttype=0))
msf_address.add(gdstk.Label('din[1]', (1.0225,0), layer=13, texttype=0))
msf_address.add(gdstk.Label('din[1]', (1.0225,0), layer=15, texttype=0))
msf_address.add(gdstk.Label('dout[3]', (2.4325,6.17), layer=13, texttype=0))
msf_address.add(gdstk.Label('vdd', (0,3.21), layer=11, texttype=0))
msf_address.add(gdstk.Label('vdd', (0,6.17), layer=11, texttype=0))
msf_address.add(gdstk.Label('vdd', (0,1.22), layer=11, texttype=0))
msf_address.add(gdstk.Label('vdd', (0,4.18), layer=11, texttype=0))
msf_address.add(gdstk.Label('dout[5]', (3.8425,6.17), layer=13, texttype=0))
msf_address.add(gdstk.Label('dout[1]', (1.0225,6.17), layer=13, texttype=0))
msf_address.add(gdstk.Label('dout_bar[5]', (3.9975,5.7525), layer=13, texttype=0))

lib.write_gds('msf_address.gds')
